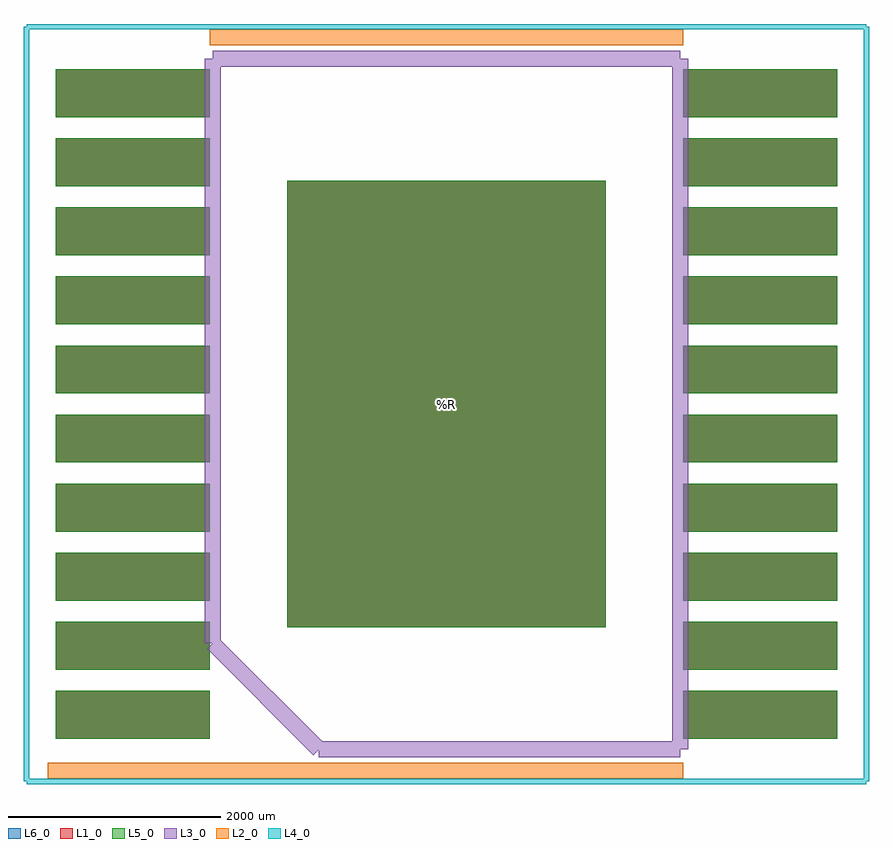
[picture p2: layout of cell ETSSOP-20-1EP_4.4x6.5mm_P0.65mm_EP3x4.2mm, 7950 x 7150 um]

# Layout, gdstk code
import gdstk
lib = gdstk.Library(unit=1e-6, precision=1e-09)
def R(c, l, rs):  # rectangles x0, y0, x1, y1
    for r in rs: c.add(gdstk.rectangle(r[:2], r[2:], *l))
def A(c, l, x, y, w, h, nx, ny, dx, dy):  # array of equal rectangles
    R(c, l, [(x+i*dx, y+j*dy, x+i*dx+w, y+j*dy+h) for i in range(nx) for j in range(ny)])
L1_0 = (1, 0)
L2_0 = (2, 0)
L3_0 = (3, 0)
L4_0 = (4, 0)
L5_0 = (5, 0)
L6_0 = (6, 0)

etssop_20_1ep_4_4x6_5mm_ = lib.new_cell('ETSSOP-20-1EP_4.4x6.5mm_P0.65mm_EP3x4.2mm')
A(etssop_20_1ep_4_4x6_5mm_, L1_0, -3675, -3150, 1450, 450, 1, 10, 0, 650)
A(etssop_20_1ep_4_4x6_5mm_, L1_0, 2225, -3150, 1450, 450, 1, 10, 0, 650)
R(etssop_20_1ep_4_4x6_5mm_, L1_0, [(-1500,-2100,1500,2100)])
A(etssop_20_1ep_4_4x6_5mm_, L5_0, -3675, -3150, 1450, 450, 1, 10, 0, 650)
A(etssop_20_1ep_4_4x6_5mm_, L5_0, 2225, -3150, 1450, 450, 1, 10, 0, 650)
R(etssop_20_1ep_4_4x6_5mm_, L5_0, [(-1500,-2100,1500,2100)])
A(etssop_20_1ep_4_4x6_5mm_, L6_0, -3675, -3150, 1450, 450, 1, 10, 0, 650)
A(etssop_20_1ep_4_4x6_5mm_, L6_0, 2225, -3150, 1450, 450, 1, 10, 0, 650)
A(etssop_20_1ep_4_4x6_5mm_, L6_0, -1350, -1970, 1200, 1140, 1, 3, 0, 1400)
A(etssop_20_1ep_4_4x6_5mm_, L6_0, 150, -1970, 1200, 1140, 1, 3, 0, 1400)
R(etssop_20_1ep_4_4x6_5mm_, L6_0, [(-1500,-2100,1500,2100)])
etssop_20_1ep_4_4x6_5mm_.add(gdstk.FlexPath([(-1200,-3250),(2200,-3250)], 150, ends="flush", simple_path=True, layer=3, datatype=0))  # L3_0
etssop_20_1ep_4_4x6_5mm_.add(gdstk.FlexPath([(2200,-3250),(2200,3250)], 150, ends="flush", simple_path=True, layer=3, datatype=0))  # L3_0
etssop_20_1ep_4_4x6_5mm_.add(gdstk.FlexPath([(2200,3250),(-2200,3250)], 150, ends="flush", simple_path=True, layer=3, datatype=0))  # L3_0
etssop_20_1ep_4_4x6_5mm_.add(gdstk.FlexPath([(-2200,3250),(-2200,-2250)], 150, ends="flush", simple_path=True, layer=3, datatype=0))  # L3_0
etssop_20_1ep_4_4x6_5mm_.add(gdstk.FlexPath([(-2200,-2250),(-1200,-3250)], 150, ends="flush", simple_path=True, layer=3, datatype=0))  # L3_0
etssop_20_1ep_4_4x6_5mm_.add(gdstk.FlexPath([(-3950,-3550),(-3950,3550)], 50, ends="flush", simple_path=True, layer=4, datatype=0))  # L4_0
etssop_20_1ep_4_4x6_5mm_.add(gdstk.FlexPath([(3950,-3550),(3950,3550)], 50, ends="flush", simple_path=True, layer=4, datatype=0))  # L4_0
etssop_20_1ep_4_4x6_5mm_.add(gdstk.FlexPath([(-3950,-3550),(3950,-3550)], 50, ends="flush", simple_path=True, layer=4, datatype=0))  # L4_0
etssop_20_1ep_4_4x6_5mm_.add(gdstk.FlexPath([(-3950,3550),(3950,3550)], 50, ends="flush", simple_path=True, layer=4, datatype=0))  # L4_0
etssop_20_1ep_4_4x6_5mm_.add(gdstk.FlexPath([(-2225,3450),(2225,3450)], 150, ends="flush", simple_path=True, layer=2, datatype=0))  # L2_0
etssop_20_1ep_4_4x6_5mm_.add(gdstk.FlexPath([(-3750,-3450),(2225,-3450)], 150, ends="flush", simple_path=True, layer=2, datatype=0))  # L2_0
etssop_20_1ep_4_4x6_5mm_.add(gdstk.Label('REF**', (0,-4300), layer=2, texttype=0))
etssop_20_1ep_4_4x6_5mm_.add(gdstk.Label('ETSSOP-20-1EP_4.4x6.5mm_P0.65mm_EP3x4.2mm', (0,4400), layer=3, texttype=0))
etssop_20_1ep_4_4x6_5mm_.add(gdstk.Label('%R', (0,0), layer=3, texttype=0))

lib.write_gds('ETSSOP-20-1EP_4.4x6.5mm_P0.65mm_EP3x4.2mm.gds')
